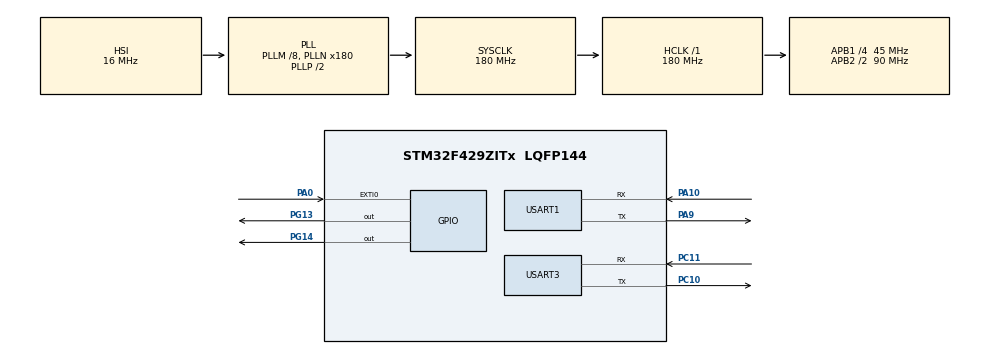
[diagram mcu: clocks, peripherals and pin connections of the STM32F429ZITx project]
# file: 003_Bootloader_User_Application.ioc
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Mcu.Family=STM32F4
Mcu.Name=STM32F429ZITx
Mcu.Package=LQFP144
NVIC.EXTI0_IRQn=true\:0\:0\:false\:false\:true\:true\:true\:true
NVIC.PriorityGroup=NVIC_PRIORITYGROUP_0
PA0/WKUP.GPIO_PuPd=GPIO_PULLDOWN
PA0/WKUP.Signal=GPXTI0
PA10.Mode=Asynchronous
PA10.Signal=USART1_RX
PA9.Mode=Asynchronous
PA9.Signal=USART1_TX
PC10.Mode=Asynchronous
PC10.Signal=USART3_TX
PC11.Mode=Asynchronous
PC11.Signal=USART3_RX
PG13.Signal=GPIO_Output
PG14.Signal=GPIO_Output
ProjectManager.HeapSize=0x200
ProjectManager.StackSize=0x400
ProjectManager.TargetToolchain=STM32CubeIDE
RCC.48MHZClocksFreq_Value=51428571.428571425
RCC.AHBFreq_Value=180000000
RCC.APB1CLKDivider=RCC_HCLK_DIV4
RCC.APB1Freq_Value=45000000
RCC.APB1TimFreq_Value=90000000
RCC.APB2CLKDivider=RCC_HCLK_DIV2
RCC.APB2Freq_Value=90000000
RCC.APB2TimFreq_Value=180000000
RCC.CortexFreq_Value=180000000
RCC.HCLKFreq_Value=180000000
RCC.HSE_VALUE=8000000
RCC.HSI_VALUE=16000000
RCC.LSE_VALUE=32768
RCC.PLLM=8
RCC.PLLN=180
RCC.PLLQ=7
RCC.SYSCLKFreq_VALUE=180000000
RCC.SYSCLKSource=RCC_SYSCLKSOURCE_PLLCLK
RCC.VCOOutputFreq_Value=360000000
USART1.VirtualMode=VM_ASYNC
USART3.VirtualMode=VM_ASYNC
board=STM32F429I-DISC1

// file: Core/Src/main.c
/* USER CODE BEGIN Header */
/**
  ******************************************************************************
  * @file           : main.c
  * @brief          : Main program body
  ******************************************************************************
  * @attention
  *
  * Copyright (c) 2023 STMicroelectronics.
  * All rights reserved.
  *
  * This software is licensed under terms that can be found in the LICENSE file
  * in the root directory of this software component.
  * If no LICENSE file comes with this software, it is provided AS-IS.
  *
  ******************************************************************************
  */
/* USER CODE END Header */
#include "main.h"

/* USER CODE BEGIN Includes */
#include "stdio.h"
#include "stdarg.h"
#include "string.h"
/* USER CODE END Includes */

/* USER CODE BEGIN PD */
#define DEBUG_UART &huart3
/* USER CODE END PD */

UART_HandleTypeDef huart1;
UART_HandleTypeDef huart3;

void SystemClock_Config(void);
static void MX_GPIO_Init(void);
static void MX_USART1_UART_Init(void);
static void MX_USART3_UART_Init(void);
/* USER CODE BEGIN PFP */
void printMessage(void *msg,...);
/* USER CODE END PFP */

int main(void)
{

  /* MCU Configuration--------------------------------------------------------*/

  /* Reset of all peripherals, Initializes the Flash interface and the Systick. */
  HAL_Init();

  /* Configure the system clock */
  SystemClock_Config();

  /* Initialize all configured peripherals */
  MX_GPIO_Init();
  MX_USART1_UART_Init();
  MX_USART3_UART_Init();

  /* Infinite loop */
  while (1)
  {

    /* USER CODE BEGIN 3 */
	  printMessage("Hello from the Bootloader User Application\r\n");
	  HAL_GPIO_TogglePin(GPIOG,GPIO_PIN_13|GPIO_PIN_14);
	  HAL_Delay(1000);
	  printMessage("Hello from the Bootloader Update User Application\r\n");
	  HAL_GPIO_TogglePin(GPIOG,GPIO_PIN_13|GPIO_PIN_14);
	  HAL_Delay(1000);
  }
  /* USER CODE END 3 */
}

void SystemClock_Config(void)
{
  RCC_OscInitTypeDef RCC_OscInitStruct = {0};
  RCC_ClkInitTypeDef RCC_ClkInitStruct = {0};

  /** Configure the main internal regulator output voltage
  */
  __HAL_RCC_PWR_CLK_ENABLE();
  __HAL_PWR_VOLTAGESCALING_CONFIG(PWR_REGULATOR_VOLTAGE_SCALE1);

  /** Initializes the RCC Oscillators according to the specified parameters
  * in the RCC_OscInitTypeDef structure.
  */
  RCC_OscInitStruct.OscillatorType = RCC_OSCILLATORTYPE_HSI;
  RCC_OscInitStruct.HSIState = RCC_HSI_ON;
  RCC_OscInitStruct.HSICalibrationValue = RCC_HSICALIBRATION_DEFAULT;
  RCC_OscInitStruct.PLL.PLLState = RCC_PLL_ON;
  RCC_OscInitStruct.PLL.PLLSource = RCC_PLLSOURCE_HSI;
  RCC_OscInitStruct.PLL.PLLM = 8;
  RCC_OscInitStruct.PLL.PLLN = 180;
  RCC_OscInitStruct.PLL.PLLP = RCC_PLLP_DIV2;
  RCC_OscInitStruct.PLL.PLLQ = 7;
  if (HAL_RCC_OscConfig(&RCC_OscInitStruct) != HAL_OK)
  {
    Error_Handler();
  }

  /** Activate the Over-Drive mode
  */
  if (HAL_PWREx_EnableOverDrive() != HAL_OK)
  {
    Error_Handler();
  }

  /** Initializes the CPU, AHB and APB buses clocks
  */
  RCC_ClkInitStruct.ClockType = RCC_CLOCKTYPE_HCLK|RCC_CLOCKTYPE_SYSCLK
                              |RCC_CLOCKTYPE_PCLK1|RCC_CLOCKTYPE_PCLK2;
  RCC_ClkInitStruct.SYSCLKSource = RCC_SYSCLKSOURCE_PLLCLK;
  RCC_ClkInitStruct.AHBCLKDivider = RCC_SYSCLK_DIV1;
  RCC_ClkInitStruct.APB1CLKDivider = RCC_HCLK_DIV4;
  RCC_ClkInitStruct.APB2CLKDivider = RCC_HCLK_DIV2;

  if (HAL_RCC_ClockConfig(&RCC_ClkInitStruct, FLASH_LATENCY_5) != HAL_OK)
  {
    Error_Handler();
  }
}

static void MX_USART1_UART_Init(void)
{

  huart1.Instance = USART1;
  huart1.Init.BaudRate = 115200;
  huart1.Init.WordLength = UART_WORDLENGTH_8B;
  huart1.Init.StopBits = UART_STOPBITS_1;
  huart1.Init.Parity = UART_PARITY_NONE;
  huart1.Init.Mode = UART_MODE_TX_RX;
  huart1.Init.HwFlowCtl = UART_HWCONTROL_NONE;
  huart1.Init.OverSampling = UART_OVERSAMPLING_16;
  if (HAL_UART_Init(&huart1) != HAL_OK)
  {
    Error_Handler();
  }

}

static void MX_USART3_UART_Init(void)
{

  huart3.Instance = USART3;
  huart3.Init.BaudRate = 115200;
  huart3.Init.WordLength = UART_WORDLENGTH_8B;
  huart3.Init.StopBits = UART_STOPBITS_1;
  huart3.Init.Parity = UART_PARITY_NONE;
  huart3.Init.Mode = UART_MODE_TX_RX;
  huart3.Init.HwFlowCtl = UART_HWCONTROL_NONE;
  huart3.Init.OverSampling = UART_OVERSAMPLING_16;
  if (HAL_UART_Init(&huart3) != HAL_OK)
  {
    Error_Handler();
  }

}

static void MX_GPIO_Init(void)
{
  GPIO_InitTypeDef GPIO_InitStruct = {0};

  /* GPIO Ports Clock Enable */
  __HAL_RCC_GPIOA_CLK_ENABLE();
  __HAL_RCC_GPIOC_CLK_ENABLE();
  __HAL_RCC_GPIOG_CLK_ENABLE();

  /*Configure GPIO pin Output Level */
  HAL_GPIO_WritePin(GPIOG, GPIO_PIN_13|GPIO_PIN_14, GPIO_PIN_RESET);

  /*Configure GPIO pin : PA0 */
  GPIO_InitStruct.Pin = GPIO_PIN_0;
  GPIO_InitStruct.Mode = GPIO_MODE_IT_RISING;
  GPIO_InitStruct.Pull = GPIO_PULLDOWN;
  HAL_GPIO_Init(GPIOA, &GPIO_InitStruct);

  /*Configure GPIO pins : PG13 PG14 */
  GPIO_InitStruct.Pin = GPIO_PIN_13|GPIO_PIN_14;
  GPIO_InitStruct.Mode = GPIO_MODE_OUTPUT_PP;
  GPIO_InitStruct.Pull = GPIO_NOPULL;
  GPIO_InitStruct.Speed = GPIO_SPEED_FREQ_LOW;
  HAL_GPIO_Init(GPIOG, &GPIO_InitStruct);

  /* EXTI interrupt init*/
  HAL_NVIC_SetPriority(EXTI0_IRQn, 0, 0);
  HAL_NVIC_EnableIRQ(EXTI0_IRQn);

}

/* USER CODE BEGIN 4 */
void printMessage(void *msg,...)
{
  char comingMessage[100];
  va_list vaList;
  va_start(vaList,msg);
  vsprintf(comingMessage,msg,vaList);
  HAL_UART_Transmit(DEBUG_UART,(uint8_t*)comingMessage,strlen(comingMessage),HAL_MAX_DELAY);
  va_end(vaList);

}
/* USER CODE END 4 */

void Error_Handler(void)
{
  __disable_irq();
  while (1)
  {
  }
}
